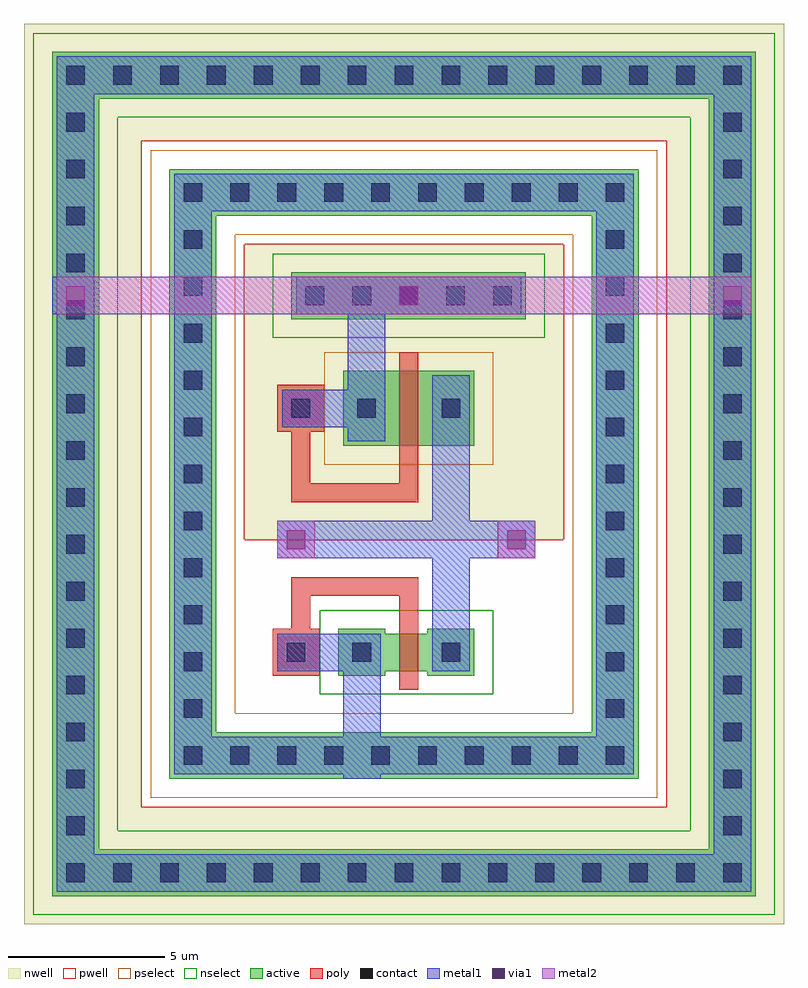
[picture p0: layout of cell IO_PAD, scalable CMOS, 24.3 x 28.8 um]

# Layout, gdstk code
import gdstk
lib = gdstk.Library(unit=1e-6, precision=1e-09)
def R(c, l, rs):  # rectangles x0, y0, x1, y1
    for r in rs: c.add(gdstk.rectangle(r[:2], r[2:], *l))
def A(c, l, x, y, w, h, nx, ny, dx, dy):  # array of equal rectangles
    R(c, l, [(x+i*dx, y+j*dy, x+i*dx+w, y+j*dy+h) for i in range(nx) for j in range(ny)])
contact = (25, 0)
pwell = (41, 0)
nwell = (42, 0)
active = (43, 0)
pselect = (44, 0)
nselect = (45, 0)
poly = (46, 0)
metal1 = (49, 0)
via1 = (50, 0)
metal2 = (51, 0)

io_pad = lib.new_cell('IO_PAD')
A(io_pad, contact, -14.4, -9.75, 0.6, 0.6, 15, 2, 1.5, 25.5)
A(io_pad, contact, -14.4, -8.25, 0.6, 0.6, 1, 16, 0, 1.5)
A(io_pad, contact, 6.6, -8.25, 0.6, 0.6, 1, 16, 0, 1.5)
A(io_pad, contact, -10.65, -6, 0.6, 0.6, 10, 2, 1.5, 18)
A(io_pad, contact, -10.65, -4.5, 0.6, 0.6, 1, 11, 0, 1.5)
A(io_pad, contact, 2.85, -4.5, 0.6, 0.6, 1, 11, 0, 1.5)
A(io_pad, contact, -6.75, 8.7, 0.6, 0.6, 5, 1, 1.5, 0)
R(io_pad, contact, [(-7.35,-2.7,-6.75,-2.1), (-5.25,-2.7,-4.65,-2.1), (-2.4,-2.7,-1.8,-2.1), (-7.2,5.1,-6.6,5.7), (-5.1,5.1,-4.5,5.7), (-2.4,5.1,-1.8,5.7)])
R(io_pad, pwell, [(-12,-7.35,4.8,-4.05), (-3.75,-6.15,-3.15,-2.1), (-12,-5.85,-8.7,12.45), (1.5,-5.85,4.8,12.45), (-7.5,-4.95,-2.4,0.15), (-4.65,-4.95,0.45,0.15), (-9.6,-4.8,-6,-1.2), (-6.45,-4.8,-0.45,0), (-7.2,-4.65,-2.325,-0.15), (-4.575,-4.65,0.15,-0.15), (-1.2,-4.65,2.4,-1.05), (-8.7,-2.4,-5.1,1.2), (-5.1,-2.4,-1.5,1.2), (-2.1,-2.4,1.5,1.2), (-12,10.65,4.8,13.95)])
A(io_pad, nwell, 4.8, -11.1, 3.6, 3.6, 1, 7, 0, 3.6)
A(io_pad, nwell, -13.05, -10.95, 3.6, 3.6, 5, 1, 3.6, 0)
A(io_pad, nwell, -15.6, -10.8, 3.6, 3.6, 1, 7, 0, 3.6)
A(io_pad, nwell, -12.15, 13.95, 3.6, 3.6, 5, 1, 3.6, 0)
R(io_pad, nwell, [(-15.75,-11.1,8.55,-7.8), (-15.75,-9.6,-12.45,16.2), (5.25,-9.6,8.55,16.2), (-8.7,1.2,-5.1,4.8), (-5.1,1.2,-1.5,4.8), (-2.1,1.2,1.5,4.8), (-7.35,2.4,-2.25,8.4), (-6.45,2.4,-0.45,8.4), (-4.65,2.4,0.45,8.4), (-7.2,3.15,-2.325,7.65), (-4.575,3.15,0,7.65), (-8.7,3.45,-5.1,7.05), (-2.1,4.2,1.5,7.8), (-3.75,5.1,-3.15,9.45), (-8.7,7.05,-5.1,10.65), (-2.1,7.05,1.5,10.65), (-8.1,7.35,1.2,10.65), (-15.75,14.4,8.55,17.7)])
R(io_pad, active, [(-14.85,-10.2,7.65,-8.7), (-14.85,-8.7,-13.35,15.3), (6.15,-8.7,7.65,15.3), (-11.1,-6.45,3.9,-4.95), (-11.1,-4.95,-9.6,11.55), (2.4,-4.95,3.9,11.55), (-5.7,-3.15,-4.2,-1.65), (-2.85,-3.15,-1.35,-1.65), (-4.65,-3,-2.25,-1.8), (-5.4,-2.85,-4.125,-1.95), (-2.775,-2.85,-1.65,-1.95), (-5.55,4.2,-4.05,6.6), (-4.65,4.2,-2.25,6.6), (-2.85,4.2,-1.35,6.6), (-5.4,4.95,-4.125,5.85), (-2.775,4.95,-1.8,5.85), (-7.2,8.25,0.3,9.75), (-11.1,11.55,3.9,13.05), (-14.85,15.3,7.65,16.8)])
R(io_pad, pselect, [(-11.7,-7.05,4.5,-4.35), (-11.7,-5.55,-9,12.15), (1.8,-5.55,4.5,12.15), (-6.15,3.6,-3.45,7.2), (-5.25,3.6,-1.65,7.2), (-3.45,3.6,-0.75,7.2), (-6,4.35,-3.525,6.45), (-3.375,4.35,-1.2,6.45), (-11.7,10.95,4.5,13.65)])
R(io_pad, nselect, [(-15.45,-10.8,8.25,-8.1), (-15.45,-9.3,-12.75,15.9), (5.55,-9.3,8.25,15.9), (-6.3,-3.75,-3.6,-1.05), (-4.05,-3.75,-2.85,-2.55), (-3.45,-3.75,-0.75,-1.05), (-5.25,-3.6,-1.65,-1.2), (-6,-3.45,-3.525,-1.35), (-3.375,-3.45,-1.05,-1.35), (-4.05,-2.25,-2.85,-1.05), (-7.8,7.65,0.9,10.35), (-15.45,14.7,8.25,17.4)])
R(io_pad, poly, [(-3.75,-3.6,-3.15,-1.2), (-7.8,-3.15,-6.3,-1.65), (-7.2,-2.7,-6.6,0), (-3.75,-1.5,-3.15,0), (-7.2,-0.6,-3.15,0), (-7.2,2.4,-3.15,3), (-7.2,2.4,-6.6,5.7), (-3.75,2.4,-3.15,3.9), (-3.75,3.6,-3.15,7.2), (-7.65,4.65,-6.15,6.15)])
R(io_pad, metal1, [(-14.7,-10.05,7.5,-8.85), (-14.7,-9.9,-13.5,3.9), (6.3,-9.9,7.5,3.9), (-14.7,-8.55,-13.5,15.15), (6.3,-8.55,7.5,15.15), (-5.55,-6.45,-4.35,-1.8), (-10.95,-6.3,3.75,-5.1), (-10.95,-6.3,-9.75,3.9), (2.55,-6.3,3.75,3.9), (-10.95,-4.8,-9.75,11.4), (2.55,-4.8,3.75,11.4), (-7.65,-3,-6.45,-1.8), (-7.65,-3,-4.35,-1.8), (-5.55,-3,-4.35,-1.8), (-2.7,-3,-1.5,-1.8), (-2.7,-3,-1.5,1.8), (-7.65,0.6,-6.45,1.8), (-7.65,0.6,-1.5,1.8), (-2.7,0.6,0.6,1.8), (-2.7,0.6,-1.5,6), (-0.6,0.6,0.6,1.8), (-14.7,2.7,-13.5,16.5), (-10.95,2.7,-9.75,12.9), (2.55,2.7,3.75,12.9), (6.3,2.7,7.5,16.5), (-5.4,4.35,-4.2,6.45), (-2.7,4.35,-1.5,6.45), (-7.5,4.8,-6.3,6), (-7.5,4.8,-4.2,6), (-5.4,4.8,-4.2,9.6), (-14.85,8.4,-13.5,9.6), (-14.7,8.4,-13.5,9.6), (-7.05,8.4,0.15,9.6), (-4.05,8.4,-2.85,9.6), (-4.05,8.4,-2.85,9.6), (6.3,8.4,7.5,9.6), (6.3,8.4,7.5,9.6), (-3.9,8.55,-3,9.45), (-3.9,8.55,-3,9.45), (-10.95,11.7,3.75,12.9), (-14.7,15.45,7.5,16.65)])
R(io_pad, via1, [(-7.35,0.9,-6.75,1.5), (-0.3,0.9,0.3,1.5), (-14.4,8.7,-13.8,9.3), (-3.75,8.7,-3.15,9.3), (-3.75,8.7,-3.15,9.3), (6.6,8.7,7.2,9.3)])
R(io_pad, metal2, [(-7.65,0.6,-6.45,1.8), (-0.6,0.6,0.6,1.8), (-14.7,8.4,-13.5,9.6), (-14.7,8.4,-2.85,9.6), (-4.05,8.4,-2.85,9.6), (-4.05,8.4,-2.85,9.6), (-4.05,8.4,7.5,9.6), (6.3,8.4,7.5,9.6)])

lib.write_gds('IO_PAD.gds')
